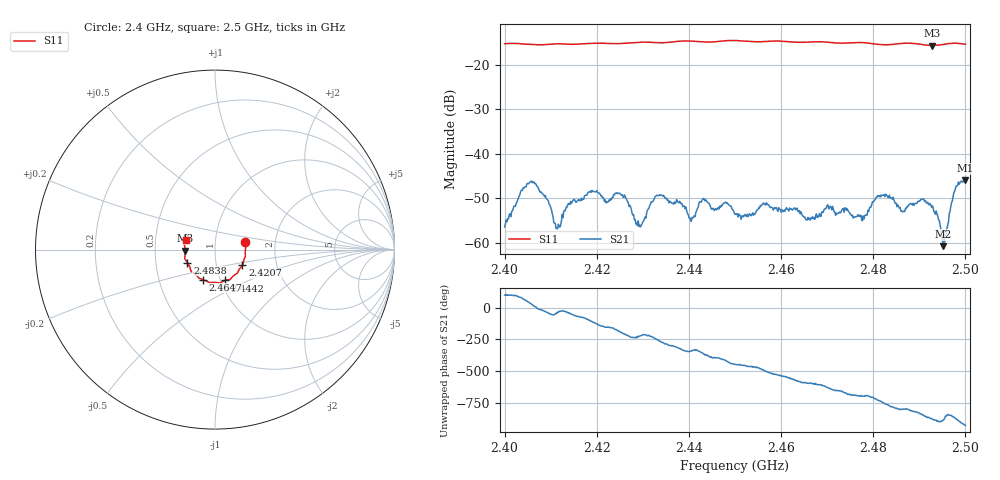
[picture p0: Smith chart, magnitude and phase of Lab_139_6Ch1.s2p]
# Hz S RI R 50
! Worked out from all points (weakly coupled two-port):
!   601 points, 2.4 GHz to 2.5 GHz, reference 50 ohm
!   highest |S21| = -45.91 dB at 2.5 GHz (marker M1); lowest = -60.7 dB at 2.4952 GHz (marker M2)
!   lowest |S11| = -15.6 dB at 2.4928 GHz (marker M3), VSWR 1.40, Z = 35.8 - j0.392 ohm
!   |S11| at or under -10 dB: start of sweep to end of sweep
!   S12 and S22 are empty: the file has one direction only
!   S11 on the Smith chart (normalised r, x): 2.4 GHz: 1.40, +0.12; 2.4207 GHz: 1.33, -0.24; 2.4442 GHz: 1.05, -0.37; 2.4647 GHz: 0.83, -0.29; 2.4838 GHz: 0.73, -0.11; 2.5 GHz: 0.72, +0.08
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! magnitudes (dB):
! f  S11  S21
! 2.4 GHz  -15.2  -56.4
! 2.4053 GHz  -15.4  -46.5
! 2.4117 GHz  -15.2  -55.8
! 2.4167 GHz  -15.3  -50.0
! 2.4207 GHz  -15.1  -49.0
! 2.4258 GHz  -15.1  -49.8
! 2.4293 GHz  -14.9  -56.0
! 2.4333 GHz  -15.0  -49.4
! 2.4405 GHz  -14.6  -55.2
! 2.4442 GHz  -14.9  -51.0
! 2.45 GHz  -14.5  -53.6
! 2.4647 GHz  -14.9  -53.9
! 2.4667 GHz  -14.8  -54.5
! 2.4703 GHz  -14.9  -52.3
! 2.478 GHz  -15.0  -54.6
! 2.4833 GHz  -15.4  -49.8
! 2.4838 GHz  -15.4  -49.9
! 2.4863 GHz  -15.1  -53.0
! 2.4928 GHz  -15.6  -51.7
! 2.4952 GHz  -15.4  -60.7
! 2.498 GHz  -15.1  -47.2
! 2.5 GHz  -15.3  -45.9
